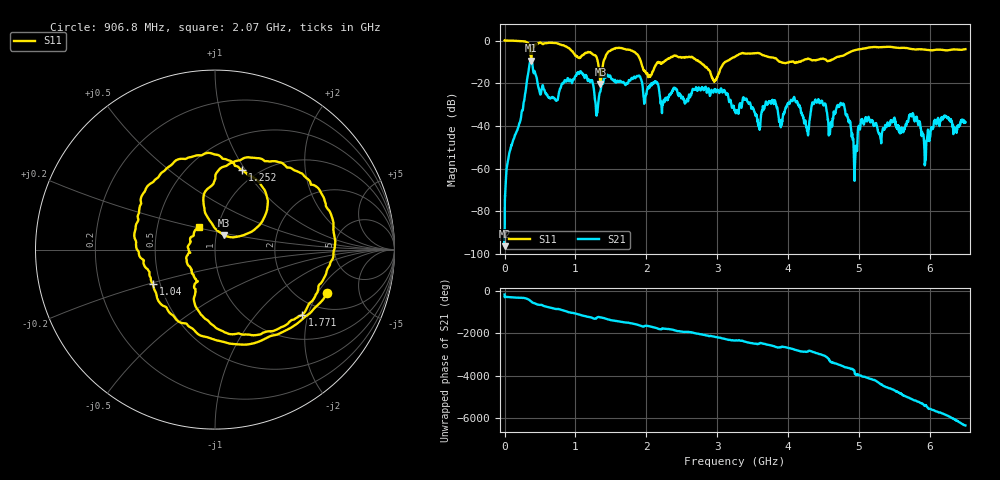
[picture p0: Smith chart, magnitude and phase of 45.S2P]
!Keysight Technologies,E5063A,MY54503115,A.05.08
!Date: Mon Dec 11 14:17:00 2023
!Data & Calibration Information:
!Freq	S11:NONE(--)	S21:NONE(--)	S12:NONE(--)	S22:NONE(--)
# Hz S dB R 50
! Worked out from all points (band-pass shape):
!   10001 points, 100 kHz to 6.5 GHz, reference 50 ohm
!   highest |S21| = -9.35 dB at 375.8 MHz (marker M1); lowest = -96.3 dB at 750 kHz (marker M2)
!   |S21| within 3 dB of the highest: 346.1 MHz to 396.5 MHz (50.41 MHz wide, 13.6 % of centre)
!   lowest |S11| = -20.4 dB at 1.351 GHz (marker M3), VSWR 1.21, Z = 54.7 + j8.9 ohm
!   |S11| at or under -10 dB: 1.923 GHz to 2.168 GHz (244.2 MHz wide, 11.9 % of centre); 2.752 GHz to 3.111 GHz (358.3 MHz wide, 12.2 % of centre); 3.89 GHz to 4.018 GHz (128 MHz wide, 3.24 % of centre) (the widest 3 of 9)
!   S12 and S22 are empty: the file has one direction only
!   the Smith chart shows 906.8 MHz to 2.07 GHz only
!   S11 on the Smith chart (normalised r, x): 906.8 MHz: 2.79, -2.41; 1.04 GHz: 0.46, -0.21; 1.252 GHz: 0.86, +0.97; 1.771 GHz: 1.59, -1.83; 2.07 GHz: 0.81, +0.21
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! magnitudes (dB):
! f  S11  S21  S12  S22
! 100 kHz  0.1  -89.0  -  -
! 750 kHz  0.0  -96.3  -  -
! 375.8 MHz  -8.3  -9.4  -  -
! 636.4 MHz  -1.0  -26.9  -  -
! 906.8 MHz  -3.5  -19.0  -  -
! 1.04 GHz  -8.1  -15.1  -  -
! 1.084 GHz  -7.2  -15.0  -  -
! 1.252 GHz  -6.6  -21.3  -  -
! 1.351 GHz  -20.4  -23.9  -  -
! 1.771 GHz  -4.3  -18.8  -  -
! 2.07 GHz  -16.1  -20.2  -  -
! 2.167 GHz  -10.0  -20.9  -  -
! 2.961 GHz  -19.2  -23.0  -  -
! 3.25 GHz  -7.6  -33.2  -  -
! 4.334 GHz  -9.2  -30.2  -  -
! 4.766 GHz  -7.2  -29.8  -  -
! 4.945 GHz  -4.5  -57.2  -  -
! 5.057 GHz  -3.8  -38.2  -  -
! 5.417 GHz  -2.9  -39.5  -  -
! 5.74 GHz  -4.0  -35.5  -  -
! 5.933 GHz  -4.3  -55.8  -  -
! 6.5 GHz  -4.0  -38.4  -  -
